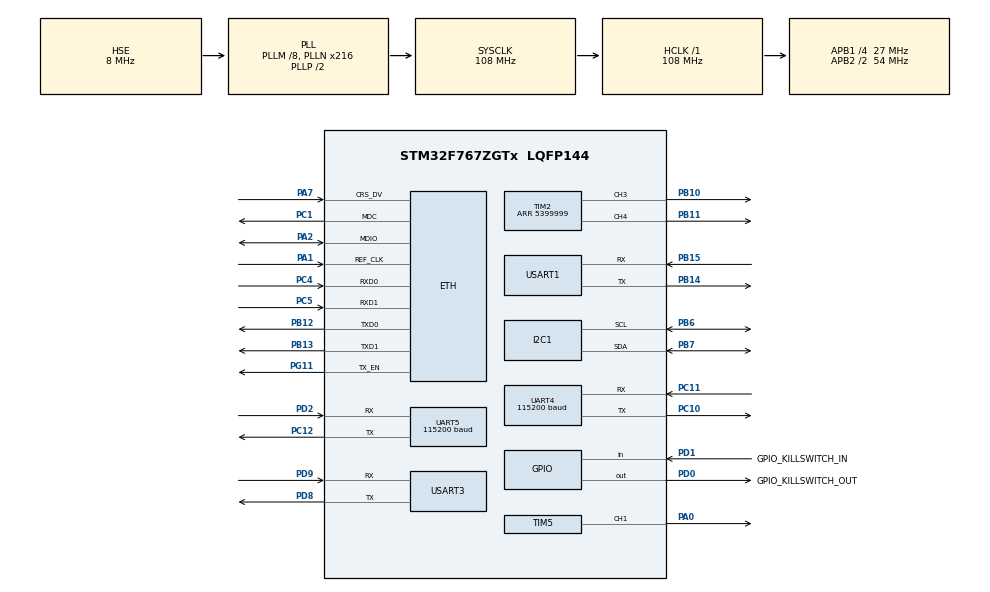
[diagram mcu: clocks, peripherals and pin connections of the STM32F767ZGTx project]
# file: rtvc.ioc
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ETH.MediaInterface=HAL_ETH_RMII_MODE
FREERTOS.Tasks01=defaultTask,0,512,StartDefaultTask,Default,NULL,Dynamic,NULL,NULL
FREERTOS.configMINIMAL_STACK_SIZE=512
FREERTOS.configUSE_NEWLIB_REENTRANT=1
FREERTOS.configUSE_TIMERS=1
I2C1.I2C_Coeff_DF=2
I2C1.Speed=50
I2C1.Timing=0x103034D3
LWIP.BSP.number=1
LWIP.GATEWAY_ADDRESS=010.000.000.050
LWIP.IP_ADDRESS=010.000.000.021
LWIP.LWIP_DHCP=0
LWIP.LWIP_RAM_HEAP_POINTER=0x20044000
LWIP.MEMP_NUM_TCP_SEG=17
LWIP.MEM_SIZE=16360
LWIP.NETMASK_ADDRESS=255.255.255.000
LWIP.TCP_MSS=1460
LWIP.TCP_SND_BUF=5840
LWIP.Version=v2.1.2_Cube
LWIP0.BSP.STBoard=false
LWIP0.BSP.api=BSP_COMPONENT_DRIVER
LWIP0.BSP.component=LAN8742
LWIP0.BSP.instance=LAN8742
LWIP0.BSP.name=Driver_PHY
LWIP0.BSP.semaphore=S_LAN8742
LWIP0.BSP.solution=LAN8742
Mcu.Family=STM32F7
Mcu.Name=STM32F767ZGTx
Mcu.Package=LQFP144
NVIC.ETH_IRQn=true\:5\:0\:false\:false\:true\:true\:false\:true\:true
NVIC.I2C1_EV_IRQn=true\:5\:0\:false\:false\:true\:true\:true\:true\:true
NVIC.PriorityGroup=NVIC_PRIORITYGROUP_4
NVIC.TIM1_CC_IRQn=true\:5\:0\:false\:false\:true\:true\:true\:true\:true
NVIC.TIM3_IRQn=true\:15\:0\:false\:false\:true\:false\:false\:true\:true
NVIC.TIM5_IRQn=true\:5\:0\:false\:false\:true\:true\:true\:true\:true
NVIC.TimeBase=TIM3_IRQn
NVIC.TimeBaseIP=TIM3
NVIC.USART1_IRQn=true\:5\:0\:false\:false\:true\:true\:true\:true\:true
PA0/WKUP.Signal=S_TIM5_CH1
PA1.Mode=RMII
PA1.Signal=ETH_REF_CLK
PA13.Mode=Trace_Asynchronous_SW
PA13.Signal=SYS_JTMS-SWDIO
PA14.Mode=Trace_Asynchronous_SW
PA14.Signal=SYS_JTCK-SWCLK
PA2.Mode=RMII
PA2.Signal=ETH_MDIO
PA7.Mode=RMII
PA7.Signal=ETH_CRS_DV
PB10.Signal=S_TIM2_CH3
PB11.Signal=S_TIM2_CH4
PB12.Mode=RMII
PB12.Signal=ETH_TXD0
PB13.Mode=RMII
PB13.Signal=ETH_TXD1
PB14.Mode=Asynchronous
PB14.Signal=USART1_TX
PB15.GPIO_PuPd=GPIO_NOPULL
PB15.Mode=Asynchronous
PB15.Signal=USART1_RX
PB3.Mode=Trace_Asynchronous_SW
PB3.Signal=SYS_JTDO-SWO
PB6.Mode=I2C
PB6.Signal=I2C1_SCL
PB7.Mode=I2C
PB7.Signal=I2C1_SDA
PC1.Mode=RMII
PC1.Signal=ETH_MDC
PC10.Mode=Asynchronous
PC10.Signal=UART4_TX
PC11.Mode=Asynchronous
PC11.Signal=UART4_RX
PC12.Mode=Asynchronous
PC12.Signal=UART5_TX
PC4.Mode=RMII
PC4.Signal=ETH_RXD0
PC5.Mode=RMII
PC5.Signal=ETH_RXD1
PD0.GPIO_Label=GPIO_KILLSWITCH_OUT
PD0.GPIO_PuPd=GPIO_PULLDOWN
PD0.Signal=GPIO_Output
PD1.GPIO_Label=GPIO_KILLSWITCH_IN
PD1.GPIO_PuPd=GPIO_PULLDOWN
PD1.Signal=GPIO_Input
PD2.Mode=Asynchronous
PD2.Signal=UART5_RX
PD8.Mode=Asynchronous
PD8.Signal=USART3_TX
PD9.Mode=Asynchronous
PD9.Signal=USART3_RX
PG11.Mode=RMII
PG11.Signal=ETH_TX_EN
PH0/OSC_IN.Mode=HSE-External-Oscillator
PH0/OSC_IN.Signal=RCC_OSC_IN
PH1/OSC_OUT.Mode=HSE-External-Oscillator
PH1/OSC_OUT.Signal=RCC_OSC_OUT
ProjectManager.HeapSize=0x200
ProjectManager.StackSize=0x400
ProjectManager.TargetToolchain=STM32CubeIDE
RCC.AHBFreq_Value=108000000
RCC.APB1CLKDivider=RCC_HCLK_DIV4
RCC.APB1Freq_Value=27000000
RCC.APB1TimFreq_Value=54000000
RCC.APB2CLKDivider=RCC_HCLK_DIV2
RCC.APB2Freq_Value=54000000
RCC.APB2TimFreq_Value=108000000
RCC.CortexFreq_Value=108000000
RCC.HCLKFreq_Value=108000000
RCC.HSE_VALUE=8000000
RCC.HSI_VALUE=16000000
RCC.LSE_VALUE=32768
RCC.PLLM=8
RCC.PLLN=216
RCC.PLLSourceVirtual=RCC_PLLSOURCE_HSE
RCC.SYSCLKFreq_VALUE=108000000
RCC.SYSCLKSource=RCC_SYSCLKSOURCE_PLLCLK
RCC.USBFreq_Value=108000000
RCC.VCOOutputFreq_Value=216000000
SH.S_TIM2_CH3.0=TIM2_CH3,PWM Generation3 CH3
SH.S_TIM2_CH4.0=TIM2_CH4,PWM Generation4 CH4
SH.S_TIM5_CH1.0=TIM5_CH1,Output Compare1 CH1
TIM1.Channel-Output\ Compare1\ No\ Output=TIM_CHANNEL_1
TIM1.Prescaler=108
TIM2.AutoReloadPreload=TIM_AUTORELOAD_PRELOAD_ENABLE
TIM2.Channel-PWM\ Generation3\ CH3=TIM_CHANNEL_3
TIM2.Channel-PWM\ Generation4\ CH4=TIM_CHANNEL_4
TIM2.Period=5399999
TIM5.Channel-Output\ Compare1\ CH1=TIM_CHANNEL_1
TIM5.Period=0xFFFFFFFF
TIM5.Prescaler=215
TIM5.Pulse-Output\ Compare1\ CH1=1000000
UART4.BaudRate=115200
UART5.BaudRate=115200
USART1.AutoBaudRateEnableParam=UART_ADVFEATURE_AUTOBAUDRATE_DISABLE
USART1.RxPinLevelInvertParam=ADVFEATURE_RXINV_ENABLE
USART1.TxPinLevelInvertParam=ADVFEATURE_TXINV_ENABLE
USART1.VirtualMode-Asynchronous=VM_ASYNC
USART3.VirtualMode-Asynchronous=VM_ASYNC
VP_FREERTOS_VS_CMSIS_V1.Mode=CMSIS_V1
VP_LWIP_VS_Enabled.Mode=Enabled
VP_SYS_VS_tim3.Mode=TIM3
VP_TIM1_VS_no_output1.Mode=Output Compare1 No Output
VP_TIM2_VS_ClockSourceINT.Mode=Internal
VP_TIM5_VS_ClockSourceINT.Mode=Internal
board=custom

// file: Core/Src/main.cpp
/* USER CODE BEGIN Header */
/******************************************************************************
 *  TartanAUV - Carnegie Mellon University
 *  RTVC Firmware
 *
 *  Author:      gleb
 *  Date:        5/16/25
 *
 *  Description:
 *      Driver for MTI300 IMU with interrupt-driven UART communication
 *
 *****************************************************************************/
/* USER CODE END Header */
extern "C" {
#include "main.h"

#include "cmsis_os.h"
#include "lwip.h"
}

/* USER CODE BEGIN Includes */
#include "Task50Hz.hpp"
#include "Logging.hpp"
#include "LoggingTask.hpp"
#include "lwip/inet.h"
#include "Task100Hz.hpp"
#include "stm32f7xx_ll_tim.h"
/* USER CODE END Includes */

I2C_HandleTypeDef hi2c1;

TIM_HandleTypeDef htim1;
TIM_HandleTypeDef htim2;
TIM_HandleTypeDef htim5;

UART_HandleTypeDef huart4;
UART_HandleTypeDef huart5;
UART_HandleTypeDef huart1;
UART_HandleTypeDef huart3;

osThreadId defaultTaskHandle;
/* USER CODE BEGIN PV */
ip_addr_t jetsonAddr;
static TAUV::LoggingTask logging_task{};
static TAUV::Task50Hz task_50hz{};
static TAUV::Task100Hz task_100hz{};
/* USER CODE END PV */

void SystemClock_Config(void);
static void MX_GPIO_Init(void);
static void MX_USART3_UART_Init(void);
static void MX_TIM5_Init(void);
static void MX_UART4_Init(void);
static void MX_UART5_Init(void);
static void MX_USART1_UART_Init(void);
static void MX_I2C1_Init(void);
static void MX_TIM1_Init(void);
static void MX_TIM2_Init(void);
void StartDefaultTask(void const * argument);

/* USER CODE BEGIN PFP */
void ITM_Init(void);
void PWM_Start_Synchronous_LL(uint32_t arr, uint32_t psc, uint32_t ccr);
/* USER CODE END PFP */

/* USER CODE BEGIN 0 */
void reset_depth_i2c();
/* USER CODE END 0 */

int main(void)
{

  /* MCU Configuration--------------------------------------------------------*/

  /* Reset of all peripherals, Initializes the Flash interface and the Systick. */  HAL_Init();

  /* Configure the system clock */
  SystemClock_Config();

  /* Initialize all configured peripherals */
  MX_GPIO_Init();
  MX_USART3_UART_Init();
  MX_TIM5_Init();
  MX_UART4_Init();
  MX_UART5_Init();
  MX_USART1_UART_Init();
  MX_I2C1_Init();
  MX_TIM1_Init();
  MX_TIM2_Init();
  /* USER CODE BEGIN 2 */
  ITM_Init();

  HAL_TIM_OC_Start_IT(&htim5, TIM_CHANNEL_1);

  const uint32_t arr = 5399999;
  const uint32_t psc = 0;
  const uint32_t ccr = arr / 2;
  PWM_Start_Synchronous_LL(arr, psc, ccr);

  // Initialize logging system
  if (!TAUV::Logging::getInstance().init(&huart3, TAUV::LogOutputMode::LOG_OUTPUT_MODE_UART)) {
    // If logging initialization failed, still try to output error
    LOG_INFO("ERROR: Failed to initialize logging system\r\n");
  }

  // Initialize and start logging task
  if (!logging_task.init() || !logging_task.start("LogTask", osPriorityHigh)) {
    // If task failed to start, output error
    LOG_INFO("ERROR: Failed to start logging task\r\n");
  }

  TAUV::Logging::getInstance().setLogLevel(TAUV::LogLevel::LOG_LEVEL_INFO);

  IP4_ADDR(&jetsonAddr, 10, 0, 0, 20);
  /* USER CODE END 2 */

  /* USER CODE BEGIN RTOS_TIMERS */
  // todo move into tasks.c
  /* USER CODE END RTOS_TIMERS */

  /* Create the thread(s) */
  /* definition and creation of defaultTask */
  osThreadDef(defaultTask, StartDefaultTask, osPriorityNormal, 0, 512);
  defaultTaskHandle = osThreadCreate(osThread(defaultTask), NULL);

  /* Start scheduler */
  osKernelStart();

  /* We should never get here as control is now taken by the scheduler */

  /* Infinite loop */
  while (1)
  {

  }
}

void SystemClock_Config(void)
{
  RCC_OscInitTypeDef RCC_OscInitStruct = {0};
  RCC_ClkInitTypeDef RCC_ClkInitStruct = {0};

  /** Configure the main internal regulator output voltage
  */
  __HAL_RCC_PWR_CLK_ENABLE();
  __HAL_PWR_VOLTAGESCALING_CONFIG(PWR_REGULATOR_VOLTAGE_SCALE3);

  /** Initializes the RCC Oscillators according to the specified parameters
  * in the RCC_OscInitTypeDef structure.
  */
  RCC_OscInitStruct.OscillatorType = RCC_OSCILLATORTYPE_HSE;
  RCC_OscInitStruct.HSEState = RCC_HSE_ON;
  RCC_OscInitStruct.PLL.PLLState = RCC_PLL_ON;
  RCC_OscInitStruct.PLL.PLLSource = RCC_PLLSOURCE_HSE;
  RCC_OscInitStruct.PLL.PLLM = 8;
  RCC_OscInitStruct.PLL.PLLN = 216;
  RCC_OscInitStruct.PLL.PLLP = RCC_PLLP_DIV2;
  RCC_OscInitStruct.PLL.PLLQ = 2;
  RCC_OscInitStruct.PLL.PLLR = 2;
  if (HAL_RCC_OscConfig(&RCC_OscInitStruct) != HAL_OK)
  {
    Error_Handler();
  }

  /** Initializes the CPU, AHB and APB buses clocks
  */
  RCC_ClkInitStruct.ClockType = RCC_CLOCKTYPE_HCLK|RCC_CLOCKTYPE_SYSCLK
                              |RCC_CLOCKTYPE_PCLK1|RCC_CLOCKTYPE_PCLK2;
  RCC_ClkInitStruct.SYSCLKSource = RCC_SYSCLKSOURCE_PLLCLK;
  RCC_ClkInitStruct.AHBCLKDivider = RCC_SYSCLK_DIV1;
  RCC_ClkInitStruct.APB1CLKDivider = RCC_HCLK_DIV4;
  RCC_ClkInitStruct.APB2CLKDivider = RCC_HCLK_DIV2;

  if (HAL_RCC_ClockConfig(&RCC_ClkInitStruct, FLASH_LATENCY_3) != HAL_OK)
  {
    Error_Handler();
  }
}

static void MX_I2C1_Init(void)
{

  hi2c1.Instance = I2C1;
  hi2c1.Init.Timing = 0x00606A9B;
  hi2c1.Init.OwnAddress1 = 0;
  hi2c1.Init.AddressingMode = I2C_ADDRESSINGMODE_7BIT;
  hi2c1.Init.DualAddressMode = I2C_DUALADDRESS_DISABLE;
  hi2c1.Init.OwnAddress2 = 0;
  hi2c1.Init.OwnAddress2Masks = I2C_OA2_NOMASK;
  hi2c1.Init.GeneralCallMode = I2C_GENERALCALL_DISABLE;
  hi2c1.Init.NoStretchMode = I2C_NOSTRETCH_DISABLE;
  if (HAL_I2C_Init(&hi2c1) != HAL_OK)
  {
    Error_Handler();
  }

  /** Configure Analogue filter
  */
  if (HAL_I2CEx_ConfigAnalogFilter(&hi2c1, I2C_ANALOGFILTER_ENABLE) != HAL_OK)
  {
    Error_Handler();
  }

  /** Configure Digital filter
  */
  if (HAL_I2CEx_ConfigDigitalFilter(&hi2c1, 0) != HAL_OK)
  {
    Error_Handler();
  }

}

static void MX_TIM1_Init(void)
{

  TIM_MasterConfigTypeDef sMasterConfig = {0};
  TIM_OC_InitTypeDef sConfigOC = {0};
  TIM_BreakDeadTimeConfigTypeDef sBreakDeadTimeConfig = {0};

  htim1.Instance = TIM1;
  htim1.Init.Prescaler = 108;
  htim1.Init.CounterMode = TIM_COUNTERMODE_UP;
  htim1.Init.Period = 65535;
  htim1.Init.ClockDivision = TIM_CLOCKDIVISION_DIV1;
  htim1.Init.RepetitionCounter = 0;
  htim1.Init.AutoReloadPreload = TIM_AUTORELOAD_PRELOAD_DISABLE;
  if (HAL_TIM_OC_Init(&htim1) != HAL_OK)
  {
    Error_Handler();
  }
  sMasterConfig.MasterOutputTrigger = TIM_TRGO_RESET;
  sMasterConfig.MasterOutputTrigger2 = TIM_TRGO2_RESET;
  sMasterConfig.MasterSlaveMode = TIM_MASTERSLAVEMODE_DISABLE;
  if (HAL_TIMEx_MasterConfigSynchronization(&htim1, &sMasterConfig) != HAL_OK)
  {
    Error_Handler();
  }
  sConfigOC.OCMode = TIM_OCMODE_TIMING;
  sConfigOC.Pulse = 0;
  sConfigOC.OCPolarity = TIM_OCPOLARITY_HIGH;
  sConfigOC.OCNPolarity = TIM_OCNPOLARITY_HIGH;
  sConfigOC.OCFastMode = TIM_OCFAST_DISABLE;
  sConfigOC.OCIdleState = TIM_OCIDLESTATE_RESET;
  sConfigOC.OCNIdleState = TIM_OCNIDLESTATE_RESET;
  if (HAL_TIM_OC_ConfigChannel(&htim1, &sConfigOC, TIM_CHANNEL_1) != HAL_OK)
  {
    Error_Handler();
  }
  sBreakDeadTimeConfig.OffStateRunMode = TIM_OSSR_DISABLE;
  sBreakDeadTimeConfig.OffStateIDLEMode = TIM_OSSI_DISABLE;
  sBreakDeadTimeConfig.LockLevel = TIM_LOCKLEVEL_OFF;
  sBreakDeadTimeConfig.DeadTime = 0;
  sBreakDeadTimeConfig.BreakState = TIM_BREAK_DISABLE;
  sBreakDeadTimeConfig.BreakPolarity = TIM_BREAKPOLARITY_HIGH;
  sBreakDeadTimeConfig.BreakFilter = 0;
  sBreakDeadTimeConfig.Break2State = TIM_BREAK2_DISABLE;
  sBreakDeadTimeConfig.Break2Polarity = TIM_BREAK2POLARITY_HIGH;
  sBreakDeadTimeConfig.Break2Filter = 0;
  sBreakDeadTimeConfig.AutomaticOutput = TIM_AUTOMATICOUTPUT_DISABLE;
  if (HAL_TIMEx_ConfigBreakDeadTime(&htim1, &sBreakDeadTimeConfig) != HAL_OK)
  {
    Error_Handler();
  }

}

static void MX_TIM5_Init(void)
{

  TIM_ClockConfigTypeDef sClockSourceConfig = {0};
  TIM_MasterConfigTypeDef sMasterConfig = {0};
  TIM_OC_InitTypeDef sConfigOC = {0};

  htim5.Instance = TIM5;
  htim5.Init.Prescaler = 215;
  htim5.Init.CounterMode = TIM_COUNTERMODE_UP;
  htim5.Init.Period = 0xFFFFFFFF;
  htim5.Init.ClockDivision = TIM_CLOCKDIVISION_DIV1;
  htim5.Init.AutoReloadPreload = TIM_AUTORELOAD_PRELOAD_DISABLE;
  if (HAL_TIM_Base_Init(&htim5) != HAL_OK)
  {
    Error_Handler();
  }
  sClockSourceConfig.ClockSource = TIM_CLOCKSOURCE_INTERNAL;
  if (HAL_TIM_ConfigClockSource(&htim5, &sClockSourceConfig) != HAL_OK)
  {
    Error_Handler();
  }
  if (HAL_TIM_OC_Init(&htim5) != HAL_OK)
  {
    Error_Handler();
  }
  sMasterConfig.MasterOutputTrigger = TIM_TRGO_RESET;
  sMasterConfig.MasterSlaveMode = TIM_MASTERSLAVEMODE_DISABLE;
  if (HAL_TIMEx_MasterConfigSynchronization(&htim5, &sMasterConfig) != HAL_OK)
  {
    Error_Handler();
  }
  sConfigOC.OCMode = TIM_OCMODE_TIMING;
  sConfigOC.Pulse = 1000000;
  sConfigOC.OCPolarity = TIM_OCPOLARITY_HIGH;
  sConfigOC.OCFastMode = TIM_OCFAST_DISABLE;
  if (HAL_TIM_OC_ConfigChannel(&htim5, &sConfigOC, TIM_CHANNEL_1) != HAL_OK)
  {
    Error_Handler();
  }
  /* USER CODE BEGIN TIM5_Init 2 */
  // This line enables Timer 5
  TIM5->CR1 |= TIM_CR1_CEN;
  /* USER CODE END TIM5_Init 2 */
  HAL_TIM_MspPostInit(&htim5);

}

static void MX_UART4_Init(void)
{

  huart4.Instance = UART4;
  huart4.Init.BaudRate = 115200;
  huart4.Init.WordLength = UART_WORDLENGTH_8B;
  huart4.Init.StopBits = UART_STOPBITS_1;
  huart4.Init.Parity = UART_PARITY_NONE;
  huart4.Init.Mode = UART_MODE_TX_RX;
  huart4.Init.HwFlowCtl = UART_HWCONTROL_NONE;
  huart4.Init.OverSampling = UART_OVERSAMPLING_16;
  huart4.Init.OneBitSampling = UART_ONE_BIT_SAMPLE_DISABLE;
  huart4.AdvancedInit.AdvFeatureInit = UART_ADVFEATURE_NO_INIT;
  if (HAL_UART_Init(&huart4) != HAL_OK)
  {
    Error_Handler();
  }

}

static void MX_UART5_Init(void)
{

  huart5.Instance = UART5;
  huart5.Init.BaudRate = 115200;
  huart5.Init.WordLength = UART_WORDLENGTH_8B;
  huart5.Init.StopBits = UART_STOPBITS_1;
  huart5.Init.Parity = UART_PARITY_NONE;
  huart5.Init.Mode = UART_MODE_TX_RX;
  huart5.Init.HwFlowCtl = UART_HWCONTROL_NONE;
  huart5.Init.OverSampling = UART_OVERSAMPLING_16;
  huart5.Init.OneBitSampling = UART_ONE_BIT_SAMPLE_DISABLE;
  huart5.AdvancedInit.AdvFeatureInit = UART_ADVFEATURE_NO_INIT;
  if (HAL_UART_Init(&huart5) != HAL_OK)
  {
    Error_Handler();
  }

}

static void MX_USART1_UART_Init(void)
{

  huart1.Instance = USART1;
  huart1.Init.BaudRate = 115200;
  huart1.Init.WordLength = UART_WORDLENGTH_8B;
  huart1.Init.StopBits = UART_STOPBITS_1;
  huart1.Init.Parity = UART_PARITY_NONE;
  huart1.Init.Mode = UART_MODE_TX_RX;
  huart1.Init.HwFlowCtl = UART_HWCONTROL_NONE;
  huart1.Init.OverSampling = UART_OVERSAMPLING_16;
  huart1.Init.OneBitSampling = UART_ONE_BIT_SAMPLE_DISABLE;
  huart1.AdvancedInit.AdvFeatureInit = UART_ADVFEATURE_TXINVERT_INIT|UART_ADVFEATURE_RXINVERT_INIT;
  huart1.AdvancedInit.TxPinLevelInvert = UART_ADVFEATURE_TXINV_ENABLE;
  huart1.AdvancedInit.RxPinLevelInvert = UART_ADVFEATURE_RXINV_ENABLE;
  if (HAL_UART_Init(&huart1) != HAL_OK)
  {
    Error_Handler();
  }

}

static void MX_USART3_UART_Init(void)
{

  huart3.Instance = USART3;
  huart3.Init.BaudRate = 115200;
  huart3.Init.WordLength = UART_WORDLENGTH_8B;
  huart3.Init.StopBits = UART_STOPBITS_1;
  huart3.Init.Parity = UART_PARITY_NONE;
  huart3.Init.Mode = UART_MODE_TX_RX;
  huart3.Init.HwFlowCtl = UART_HWCONTROL_NONE;
  huart3.Init.OverSampling = UART_OVERSAMPLING_16;
  huart3.Init.OneBitSampling = UART_ONE_BIT_SAMPLE_DISABLE;
  huart3.AdvancedInit.AdvFeatureInit = UART_ADVFEATURE_NO_INIT;
  if (HAL_UART_Init(&huart3) != HAL_OK)
  {
    Error_Handler();
  }

}

static void MX_GPIO_Init(void)
{
  GPIO_InitTypeDef GPIO_InitStruct = {0};

  /* GPIO Ports Clock Enable */
  __HAL_RCC_GPIOH_CLK_ENABLE();
  __HAL_RCC_GPIOC_CLK_ENABLE();
  __HAL_RCC_GPIOA_CLK_ENABLE();
  __HAL_RCC_GPIOB_CLK_ENABLE();
  __HAL_RCC_GPIOD_CLK_ENABLE();
  __HAL_RCC_GPIOG_CLK_ENABLE();

  /*Configure GPIO pin Output Level */
  HAL_GPIO_WritePin(GPIO_KILLSWITCH_OUT_GPIO_Port, GPIO_KILLSWITCH_OUT_Pin, GPIO_PIN_SET);

  /*Configure GPIO pin : GPIO_KILLSWITCH_OUT_Pin */
  GPIO_InitStruct.Pin = GPIO_KILLSWITCH_OUT_Pin;
  GPIO_InitStruct.Mode = GPIO_MODE_OUTPUT_PP;
  GPIO_InitStruct.Pull = GPIO_PULLDOWN;
  GPIO_InitStruct.Speed = GPIO_SPEED_FREQ_LOW;
  HAL_GPIO_Init(GPIO_KILLSWITCH_OUT_GPIO_Port, &GPIO_InitStruct);

  /*Configure GPIO pin : GPIO_KILLSWITCH_IN_Pin */
  GPIO_InitStruct.Pin = GPIO_KILLSWITCH_IN_Pin;
  GPIO_InitStruct.Mode = GPIO_MODE_INPUT;
  GPIO_InitStruct.Pull = GPIO_PULLDOWN;
  HAL_GPIO_Init(GPIO_KILLSWITCH_IN_GPIO_Port, &GPIO_InitStruct);

}

static void MX_TIM2_Init(void)
{

  TIM_ClockConfigTypeDef sClockSourceConfig = {0};
  TIM_MasterConfigTypeDef sMasterConfig = {0};
  TIM_OC_InitTypeDef sConfigOC = {0};

  htim2.Instance = TIM2;
  htim2.Init.Prescaler = 0;
  htim2.Init.CounterMode = TIM_COUNTERMODE_UP;
  htim2.Init.Period = 5399999;
  htim2.Init.ClockDivision = TIM_CLOCKDIVISION_DIV1;
  htim2.Init.AutoReloadPreload = TIM_AUTORELOAD_PRELOAD_ENABLE;
  if (HAL_TIM_Base_Init(&htim2) != HAL_OK)
  {
    Error_Handler();
  }
  sClockSourceConfig.ClockSource = TIM_CLOCKSOURCE_INTERNAL;
  if (HAL_TIM_ConfigClockSource(&htim2, &sClockSourceConfig) != HAL_OK)
  {
    Error_Handler();
  }
  if (HAL_TIM_PWM_Init(&htim2) != HAL_OK)
  {
    Error_Handler();
  }
  sMasterConfig.MasterOutputTrigger = TIM_TRGO_RESET;
  sMasterConfig.MasterSlaveMode = TIM_MASTERSLAVEMODE_DISABLE;
  if (HAL_TIMEx_MasterConfigSynchronization(&htim2, &sMasterConfig) != HAL_OK)
  {
    Error_Handler();
  }
  sConfigOC.OCMode = TIM_OCMODE_PWM1;
  sConfigOC.Pulse = 0;
  sConfigOC.OCPolarity = TIM_OCPOLARITY_HIGH;
  sConfigOC.OCFastMode = TIM_OCFAST_DISABLE;
  if (HAL_TIM_PWM_ConfigChannel(&htim2, &sConfigOC, TIM_CHANNEL_3) != HAL_OK)
  {
    Error_Handler();
  }
  if (HAL_TIM_PWM_ConfigChannel(&htim2, &sConfigOC, TIM_CHANNEL_4) != HAL_OK)
  {
    Error_Handler();
  }
  HAL_TIM_MspPostInit(&htim2);

}

/* USER CODE BEGIN 4 */

void reset_depth_i2c() {
    HAL_I2C_DeInit(&hi2c1);
    MX_I2C1_Init();

    // Enable I2C1 interrupts
    HAL_NVIC_SetPriority(I2C1_EV_IRQn, 5, 0);
    HAL_NVIC_EnableIRQ(I2C1_EV_IRQn);
//    HAL_NVIC_SetPriority(I2C1_ER_IRQn, 5, 0);
//    HAL_NVIC_EnableIRQ(I2C1_ER_IRQn);

    // Enable I2C interrupts
    SET_BIT(I2C1->CR1, I2C_CR1_TXIE | I2C_CR1_RXIE | I2C_CR1_ERRIE);
}

void ITM_Init(void) {
  // Enable trace and debug
  CoreDebug->DEMCR |= CoreDebug_DEMCR_TRCENA_Msk;

  // Unlock ITM
  ITM->LAR  = 0xC5ACCE55;

  // Enable ITM Stimulus Port 0
  ITM->TER |= (1UL << 0);

  // Enable ITM with trace bus ID = 1
  ITM->TCR = ITM_TCR_ITMENA_Msk |      // Enable ITM
             ITM_TCR_TSENA_Msk  |      // Enable timestamping (optional)
             ITM_TCR_SWOENA_Msk |      // Enable SWO output
             ITM_TCR_SYNCENA_Msk |     // Enable sync packets
             (1 << ITM_TCR_TraceBusID_Pos);  // Trace bus ID
}
/* USER CODE END 4 */

void StartDefaultTask(void const * argument)
{
  LOG_INFO("  _______         _                      _    ___      __  ");
  LOG_INFO(" |__   __|       | |                /\\  | |  | \\ \\    / /  ");
  LOG_INFO("    | | __ _ _ __| |_ __ _ _ __    /  \\ | |  | |\\ \\  / /      ");
  LOG_INFO("    | |/ _` | '__| __/ _` | '_ \\  / /\\ \\| |  | | \\ \\/ /    ");
  LOG_INFO("    | | (_| | |  | || (_| | | | |/ ____ \\ |__| |  \\  /     ");
  LOG_INFO("    |_|\\__,_|_|   \\__\\__,_|_| |_/_/    \\_\\____/    \\/      ");
  LOG_INFO(" ");
  LOG_INFO(" Real-Time Vehicle Controller Rev. A");
  LOG_INFO(" TartanAUV, Carnegie Mellon University");
  LOG_INFO(" Authors: Gleb Ryabtsev, Victor Zayakov, 2025");
  LOG_INFO("");

  /* init code for LWIP */
  LOG_INFO("Initializing LWIP network stack...");
  MX_LWIP_Init();
  LOG_INFO("LWIP initialization complete");
  LOG_INFO("Network stack initialized. IP configuration: %s", ip4addr_ntoa(netif_ip4_addr(netif_default)));

  /* USER CODE BEGIN 5 */
  LOG_INFO("Establishing connection to Jetson at %s", ip4addr_ntoa(&jetsonAddr));

  LOG_INFO("Initializing tasks...");
  auto resources_50hz = std::make_unique<TAUV::Task50Hz::Resources>();
  resources_50hz->uarts = { &huart4, &huart5 };
  task_50hz.init(std::move(resources_50hz));
  task_50hz.start("task50hz", 20);

  auto resources_100hz = std::make_unique<TAUV::Task100Hz::Resources>();
  resources_100hz->imu_uart = &huart1;
  resources_100hz->depth_i2c = &hi2c1;
  task_100hz.init(std::move(resources_100hz));
  task_100hz.start("task100hz", 10);

  LOG_INFO("Task initialization complete.");

  /* Infinite loop */
  for(;;)
  {
    // Periodically check connection status
    if (netif_is_up(netif_default) && !ip4_addr_isany_val(*netif_ip4_addr(netif_default))) {
      static bool connection_logged = false;
      if (!connection_logged) {
        LOG_INFO("Network connection established\r\n");
        LOG_INFO("Network connection stable with IP: %s", ip4addr_ntoa(netif_ip4_addr(netif_default)));
        connection_logged = true;
      }
    }
    osDelay(1000);
  }
  /* USER CODE END 5 */
}

void HAL_TIM_PeriodElapsedCallback(TIM_HandleTypeDef *htim)
{
  if (htim->Instance == TIM3)
  {
    HAL_IncTick();
  }
}

/**
 * @brief Start camera timer
 */
void PWM_Start_Synchronous_LL(uint32_t arr, uint32_t psc, uint32_t ccr)
{
    LL_TIM_DisableCounter(TIM2);

    LL_TIM_SetPrescaler(TIM2, psc);
    LL_TIM_SetAutoReload(TIM2, arr);
    LL_TIM_EnableARRPreload(TIM2);

    // CH3 + CH4 config: PWM1, preload enabled, polarity high
    LL_TIM_OC_SetMode(TIM2, LL_TIM_CHANNEL_CH3, LL_TIM_OCMODE_PWM1);
    LL_TIM_OC_EnablePreload(TIM2, LL_TIM_CHANNEL_CH3);
    LL_TIM_OC_SetCompareCH3(TIM2, ccr);

    LL_TIM_OC_SetMode(TIM2, LL_TIM_CHANNEL_CH4, LL_TIM_OCMODE_PWM1);
    LL_TIM_OC_EnablePreload(TIM2, LL_TIM_CHANNEL_CH4);
    LL_TIM_OC_SetCompareCH4(TIM2, ccr);

    LL_TIM_SetCounter(TIM2, 0);
    LL_TIM_CC_EnableChannel(TIM2, LL_TIM_CHANNEL_CH3 | LL_TIM_CHANNEL_CH4);
    LL_TIM_GenerateEvent_UPDATE(TIM2);   // latch ARR/CCR
    LL_TIM_EnableCounter(TIM2);
}

void Error_Handler(void)
{
  /* USER CODE BEGIN Error_Handler_Debug */
  /* User can add his own implementation to report the HAL error return state */
  __disable_irq();

  // Log the error if logging is initialized
  LOG_FATAL("System error occurred! Halting system.");

  while (1)
  {
  }
  /* USER CODE END Error_Handler_Debug */
}

#ifdef  USE_FULL_ASSERT
/**
  * @brief  Reports the name of the source file and the source line number
  *         where the assert_param error has occurred.
  * @param  file: pointer to the source file name
  * @param  line: assert_param error line source number
  * @retval None
  */
void assert_failed(uint8_t *file, uint32_t line)
{
  /* USER CODE BEGIN 6 */
  /* User can add his own implementation to report the file name and line number,
     ex: LOG_INFO("Wrong parameters value: file %s on line %d\r\n", file, line) */
  /* USER CODE END 6 */
}
#endif /* USE_FULL_ASSERT */
